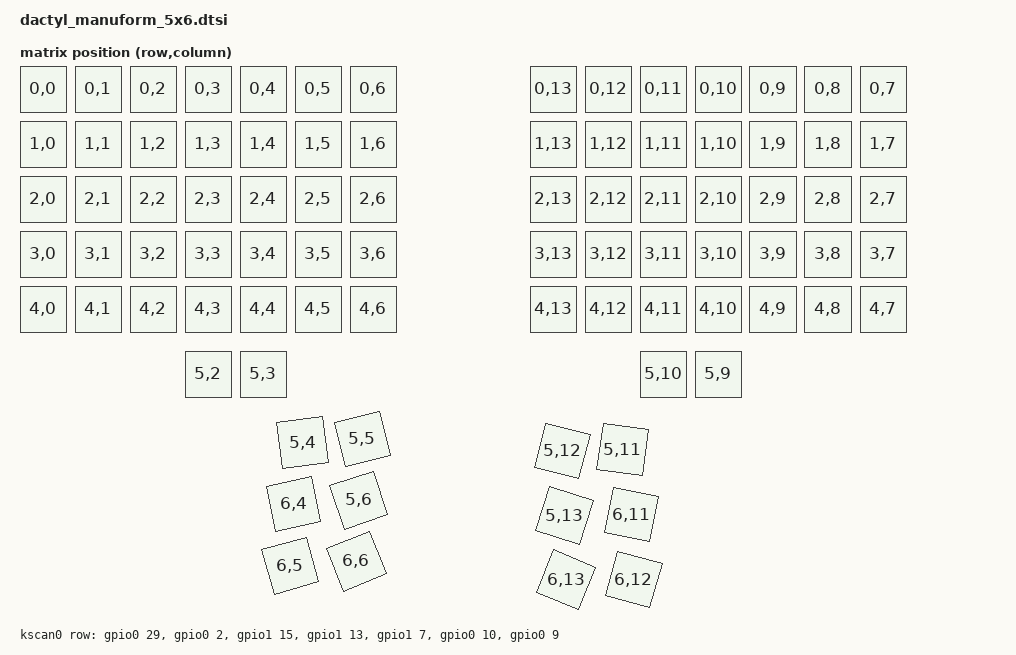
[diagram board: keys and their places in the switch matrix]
#include <dt-bindings/zmk/matrix_transform.h>
#include <physical_layouts.dtsi>

/ {
    chosen {
        zmk,kscan = &kscan0;
        zmk,physical-layout = &physical_layout0;
    };

    physical_layout0: physical_layout_0 {
        compatible = "zmk,physical-layout";
        display-name = "Dactyl Manuform 5x6";
        transform = <&default_transform>;
        kscan = <&kscan0>;

        keys =
        // Row 0 (14)
        <&key_physical_attrs 100 100    0    0 0 0 0>,
        <&key_physical_attrs 100 100  110    0 0 0 0>,
        <&key_physical_attrs 100 100  220    0 0 0 0>,
        <&key_physical_attrs 100 100  330    0 0 0 0>,
        <&key_physical_attrs 100 100  440    0 0 0 0>,
        <&key_physical_attrs 100 100  550    0 0 0 0>,
        <&key_physical_attrs 100 100  660    0 0 0 0>,
        <&key_physical_attrs 100 100 1020    0 0 0 0>,
        <&key_physical_attrs 100 100 1130    0 0 0 0>,
        <&key_physical_attrs 100 100 1240    0 0 0 0>,
        <&key_physical_attrs 100 100 1350    0 0 0 0>,
        <&key_physical_attrs 100 100 1460    0 0 0 0>,
        <&key_physical_attrs 100 100 1570    0 0 0 0>,
        <&key_physical_attrs 100 100 1680    0 0 0 0>,
        // Row 1 (14)
        <&key_physical_attrs 100 100    0  110 0 0 0>,
        <&key_physical_attrs 100 100  110  110 0 0 0>,
        <&key_physical_attrs 100 100  220  110 0 0 0>,
        <&key_physical_attrs 100 100  330  110 0 0 0>,
        <&key_physical_attrs 100 100  440  110 0 0 0>,
        <&key_physical_attrs 100 100  550  110 0 0 0>,
        <&key_physical_attrs 100 100  660  110 0 0 0>,
        <&key_physical_attrs 100 100 1020  110 0 0 0>,
        <&key_physical_attrs 100 100 1130  110 0 0 0>,
        <&key_physical_attrs 100 100 1240  110 0 0 0>,
        <&key_physical_attrs 100 100 1350  110 0 0 0>,
        <&key_physical_attrs 100 100 1460  110 0 0 0>,
        <&key_physical_attrs 100 100 1570  110 0 0 0>,
        <&key_physical_attrs 100 100 1680  110 0 0 0>,
        // Row 2 (14)
        <&key_physical_attrs 100 100    0  220 0 0 0>,
        <&key_physical_attrs 100 100  110  220 0 0 0>,
        <&key_physical_attrs 100 100  220  220 0 0 0>,
        <&key_physical_attrs 100 100  330  220 0 0 0>,
        <&key_physical_attrs 100 100  440  220 0 0 0>,
        <&key_physical_attrs 100 100  550  220 0 0 0>,
        <&key_physical_attrs 100 100  660  220 0 0 0>,
        <&key_physical_attrs 100 100 1020  220 0 0 0>,
        <&key_physical_attrs 100 100 1130  220 0 0 0>,
        <&key_physical_attrs 100 100 1240  220 0 0 0>,
        <&key_physical_attrs 100 100 1350  220 0 0 0>,
        <&key_physical_attrs 100 100 1460  220 0 0 0>,
        <&key_physical_attrs 100 100 1570  220 0 0 0>,
        <&key_physical_attrs 100 100 1680  220 0 0 0>,
        // Row 3 (14)
        <&key_physical_attrs 100 100    0  330 0 0 0>,
        <&key_physical_attrs 100 100  110  330 0 0 0>,
        <&key_physical_attrs 100 100  220  330 0 0 0>,
        <&key_physical_attrs 100 100  330  330 0 0 0>,
        <&key_physical_attrs 100 100  440  330 0 0 0>,
        <&key_physical_attrs 100 100  550  330 0 0 0>,
        <&key_physical_attrs 100 100  660  330 0 0 0>,
        <&key_physical_attrs 100 100 1020  330 0 0 0>,
        <&key_physical_attrs 100 100 1130  330 0 0 0>,
        <&key_physical_attrs 100 100 1240  330 0 0 0>,
        <&key_physical_attrs 100 100 1350  330 0 0 0>,
        <&key_physical_attrs 100 100 1460  330 0 0 0>,
        <&key_physical_attrs 100 100 1570  330 0 0 0>,
        <&key_physical_attrs 100 100 1680  330 0 0 0>,
        // Row 4 (14)
        <&key_physical_attrs 100 100    0  440 0 0 0>,
        <&key_physical_attrs 100 100  110  440 0 0 0>,
        <&key_physical_attrs 100 100  220  440 0 0 0>,
        <&key_physical_attrs 100 100  330  440 0 0 0>,
        <&key_physical_attrs 100 100  440  440 0 0 0>,
        <&key_physical_attrs 100 100  550  440 0 0 0>,
        <&key_physical_attrs 100 100  660  440 0 0 0>,
        <&key_physical_attrs 100 100 1020  440 0 0 0>,
        <&key_physical_attrs 100 100 1130  440 0 0 0>,
        <&key_physical_attrs 100 100 1240  440 0 0 0>,
        <&key_physical_attrs 100 100 1350  440 0 0 0>,
        <&key_physical_attrs 100 100 1460  440 0 0 0>,
        <&key_physical_attrs 100 100 1570  440 0 0 0>,
        <&key_physical_attrs 100 100 1680  440 0 0 0>,
        // Mid pair row (4)
        <&key_physical_attrs 100 100  330  570 0 0 0>,
        <&key_physical_attrs 100 100  440  570 0 0 0>,
        <&key_physical_attrs 100 100 1240  570 0 0 0>,
        <&key_physical_attrs 100 100 1350  570 0 0 0>,
        // Thumb row 1 (4) - rotated
        <&key_physical_attrs 100 100  520  700 (-800)  620 760>,
        <&key_physical_attrs 100 100  640  690 (-1400) 730 750>,
        <&key_physical_attrs 100 100 1040  690  (1400) 950 750>,
        <&key_physical_attrs 100 100 1160  700   (800) 1060 760>,
        // Thumb row 2 (4) - rotated
        <&key_physical_attrs 100 100  500  820 (-1200) 600 870>,
        <&key_physical_attrs 100 100  630  810 (-1800) 720 860>,
        <&key_physical_attrs 100 100 1050  810  (1800) 960 860>,
        <&key_physical_attrs 100 100 1180  820  (1200) 1080 870>,
        // Thumb row 3 (4) - rotated
        <&key_physical_attrs 100 100  490  940 (-1600) 590 980>,
        <&key_physical_attrs 100 100  620  930 (-2200) 710 970>,
        <&key_physical_attrs 100 100 1060  930  (2200) 970 970>,
        <&key_physical_attrs 100 100 1190  940  (1600) 1090 980>;
    };

    default_transform: keymap_transform_0 {
        compatible = "zmk,matrix-transform";
        columns = <14>;
        rows = <7>;
        map = <
RC(0,0) RC(0,1) RC(0,2) RC(0,3) RC(0,4) RC(0,5) RC(0,6)          RC(0,13) RC(0,12) RC(0,11) RC(0,10) RC(0,9) RC(0,8) RC(0,7)
RC(1,0) RC(1,1) RC(1,2) RC(1,3) RC(1,4) RC(1,5) RC(1,6)          RC(1,13) RC(1,12) RC(1,11) RC(1,10) RC(1,9) RC(1,8) RC(1,7)
RC(2,0) RC(2,1) RC(2,2) RC(2,3) RC(2,4) RC(2,5) RC(2,6)          RC(2,13) RC(2,12) RC(2,11) RC(2,10) RC(2,9) RC(2,8) RC(2,7)
RC(3,0) RC(3,1) RC(3,2) RC(3,3) RC(3,4) RC(3,5) RC(3,6)          RC(3,13) RC(3,12) RC(3,11) RC(3,10) RC(3,9) RC(3,8) RC(3,7)
RC(4,0) RC(4,1) RC(4,2) RC(4,3) RC(4,4) RC(4,5) RC(4,6)          RC(4,13) RC(4,12) RC(4,11) RC(4,10) RC(4,9) RC(4,8) RC(4,7)
                RC(5,2) RC(5,3)                                                             RC(5,10) RC(5,9)
                                RC(5,4) RC(5,5)                  RC(5,12) RC(5,11)
                                RC(6,4) RC(5,6)                  RC(5,13) RC(6,11)
                                RC(6,5) RC(6,6)                  RC(6,13) RC(6,12)
                                                                    
                                                                    
                                                                 
        >;
    };

    kscan0: kscan {
        compatible = "zmk,kscan-gpio-matrix";
        label = "KSCAN";

        diode-direction = "col2row";
        row-gpios
            = <&gpio0 29 (GPIO_ACTIVE_HIGH | GPIO_PULL_DOWN)>
            , <&gpio0 2 (GPIO_ACTIVE_HIGH | GPIO_PULL_DOWN)>
            , <&gpio1 15 (GPIO_ACTIVE_HIGH | GPIO_PULL_DOWN)>
            , <&gpio1 13 (GPIO_ACTIVE_HIGH | GPIO_PULL_DOWN)>
            , <&gpio1 7 (GPIO_ACTIVE_HIGH | GPIO_PULL_DOWN)>
            , <&gpio0 10 (GPIO_ACTIVE_HIGH | GPIO_PULL_DOWN)>
            , <&gpio0 9 (GPIO_ACTIVE_HIGH | GPIO_PULL_DOWN)>
            ;

    };
};
